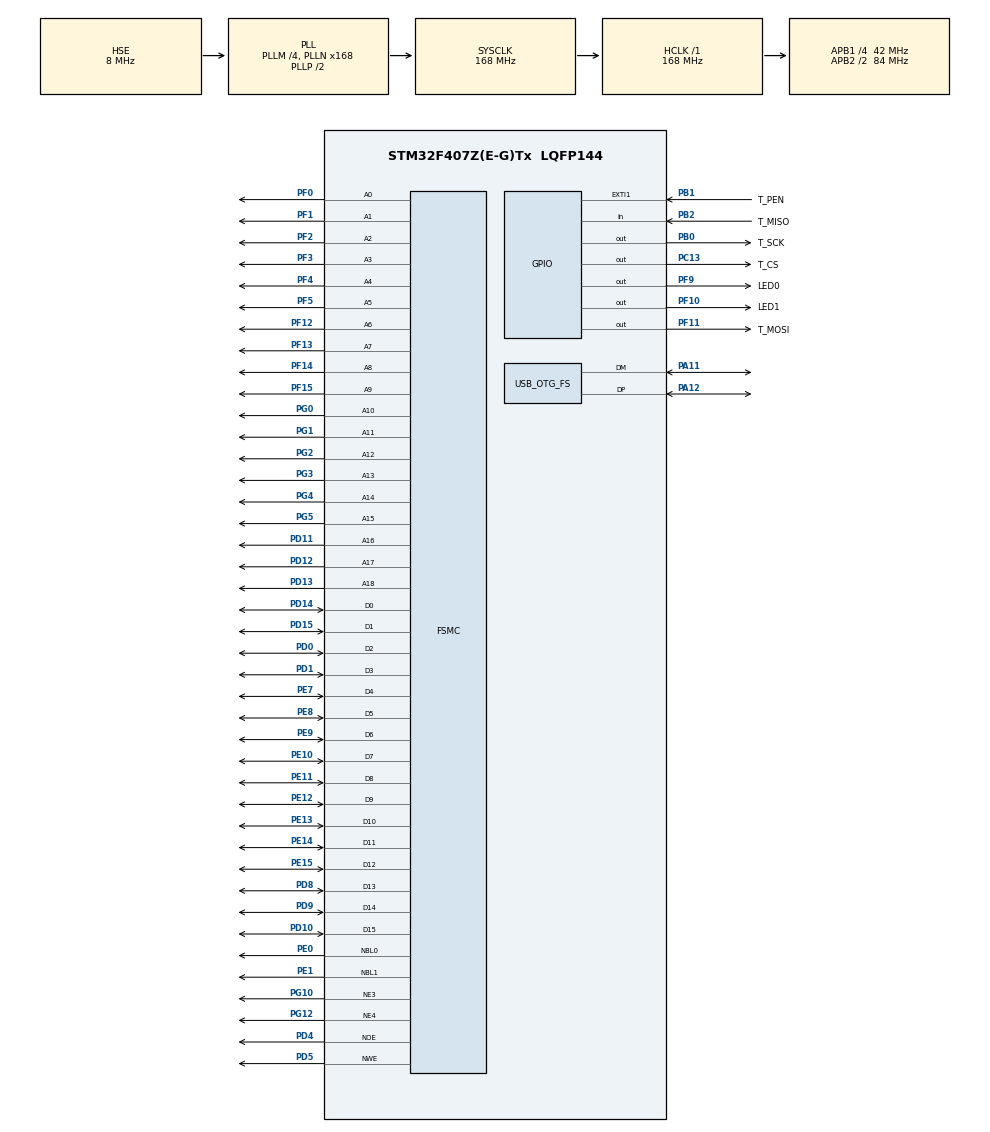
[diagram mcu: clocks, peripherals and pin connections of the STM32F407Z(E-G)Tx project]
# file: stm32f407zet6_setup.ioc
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Dma.MEMTOMEM.0.Direction=DMA_MEMORY_TO_MEMORY
Dma.MEMTOMEM.0.FIFOMode=DMA_FIFOMODE_ENABLE
Dma.MEMTOMEM.0.FIFOThreshold=DMA_FIFO_THRESHOLD_FULL
Dma.MEMTOMEM.0.Instance=DMA2_Stream7
Dma.MEMTOMEM.0.MemBurst=DMA_MBURST_SINGLE
Dma.MEMTOMEM.0.MemDataAlignment=DMA_MDATAALIGN_HALFWORD
Dma.MEMTOMEM.0.MemInc=DMA_MINC_DISABLE
Dma.MEMTOMEM.0.Mode=DMA_NORMAL
Dma.MEMTOMEM.0.PeriphBurst=DMA_PBURST_SINGLE
Dma.MEMTOMEM.0.PeriphDataAlignment=DMA_PDATAALIGN_HALFWORD
Dma.MEMTOMEM.0.PeriphInc=DMA_PINC_ENABLE
Dma.MEMTOMEM.0.Priority=DMA_PRIORITY_VERY_HIGH
Dma.Request0=MEMTOMEM
FSMC.AccessMode1=FSMC_ACCESS_MODE_A
FSMC.AddressSetupTime1=5
FSMC.AddressSetupTime2=1
FSMC.BusTurnAroundDuration1=4
FSMC.BusTurnAroundDuration2=0
FSMC.DataSetupTime1=1
FSMC.DataSetupTime2=2
FSMC.ExtendedAddressSetupTime1=4
FSMC.ExtendedAddressSetupTime2=2
FSMC.ExtendedBusTurnAroundDuration1=4
FSMC.ExtendedBusTurnAroundDuration2=6
FSMC.ExtendedDataSetupTime1=5
FSMC.ExtendedDataSetupTime2=3
FSMC.ExtendedMode1=FSMC_EXTENDED_MODE_ENABLE
FSMC.ExtendedMode2=FSMC_EXTENDED_MODE_ENABLE
FSMC.WriteOperation1=FSMC_WRITE_OPERATION_ENABLE
Mcu.Family=STM32F4
Mcu.Name=STM32F407Z(E-G)Tx
Mcu.Package=LQFP144
NVIC.DMA2_Stream7_IRQn=true\:0\:0\:false\:false\:true\:true\:true
NVIC.EXTI1_IRQn=true\:0\:0\:false\:false\:true\:true\:true
NVIC.OTG_FS_IRQn=true\:0\:0\:false\:false\:true\:false\:true
NVIC.PriorityGroup=NVIC_PRIORITYGROUP_4
PA11.Mode=Device_Only
PA11.Signal=USB_OTG_FS_DM
PA12.Mode=Device_Only
PA12.Signal=USB_OTG_FS_DP
PA13.Mode=Serial_Wire
PA13.Signal=SYS_JTMS-SWDIO
PA14.Mode=Serial_Wire
PA14.Signal=SYS_JTCK-SWCLK
PB0.GPIO_Label=T_SCK
PB0.GPIO_Speed=GPIO_SPEED_FREQ_HIGH
PB0.PinState=GPIO_PIN_SET
PB0.Signal=GPIO_Output
PB1.GPIO_Label=T_PEN
PB1.GPIO_ModeDefaultEXTI=GPIO_MODE_IT_FALLING
PB1.Signal=GPXTI1
PB2.GPIO_Label=T_MISO
PB2.Signal=GPIO_Input
PC13-ANTI_TAMP.GPIO_Label=T_CS
PC13-ANTI_TAMP.PinState=GPIO_PIN_SET
PC13-ANTI_TAMP.Signal=GPIO_Output
PD0.Signal=FSMC_D2_DA2
PD1.Signal=FSMC_D3_DA3
PD10.Signal=FSMC_D15_DA15
PD11.Signal=FSMC_A16_CLE
PD12.Signal=FSMC_A17_ALE
PD13.Signal=FSMC_A18
PD14.Signal=FSMC_D0_DA0
PD15.Signal=FSMC_D1_DA1
PD4.Signal=FSMC_NOE
PD5.Signal=FSMC_NWE
PD8.Signal=FSMC_D13_DA13
PD9.Signal=FSMC_D14_DA14
PE0.Signal=FSMC_NBL0
PE1.Signal=FSMC_NBL1
PE10.Signal=FSMC_D7_DA7
PE11.Signal=FSMC_D8_DA8
PE12.Signal=FSMC_D9_DA9
PE13.Signal=FSMC_D10_DA10
PE14.Signal=FSMC_D11_DA11
PE15.Signal=FSMC_D12_DA12
PE7.Signal=FSMC_D4_DA4
PE8.Signal=FSMC_D5_DA5
PE9.Signal=FSMC_D6_DA6
PF0.Signal=FSMC_A0
PF1.Signal=FSMC_A1
PF10.GPIO_Label=LED1
PF10.PinState=GPIO_PIN_SET
PF10.Signal=GPIO_Output
PF11.GPIO_Label=T_MOSI
PF11.GPIO_Speed=GPIO_SPEED_FREQ_HIGH
PF11.Signal=GPIO_Output
PF12.Signal=FSMC_A6
PF13.Signal=FSMC_A7
PF14.Signal=FSMC_A8
PF15.Signal=FSMC_A9
PF2.Signal=FSMC_A2
PF3.Signal=FSMC_A3
PF4.Signal=FSMC_A4
PF5.Signal=FSMC_A5
PF9.GPIO_Label=LED0
PF9.PinState=GPIO_PIN_SET
PF9.Signal=GPIO_Output
PG0.Signal=FSMC_A10
PG1.Signal=FSMC_A11
PG10.Mode=NorPsramChipSelect3_1
PG10.Signal=FSMC_NE3
PG12.Mode=NorPsramChipSelect4_2
PG12.Signal=FSMC_NE4
PG2.Signal=FSMC_A12
PG3.Signal=FSMC_A13
PG4.Signal=FSMC_A14
PG5.Signal=FSMC_A15
PH0-OSC_IN.Mode=HSE-External-Oscillator
PH0-OSC_IN.Signal=RCC_OSC_IN
PH1-OSC_OUT.Mode=HSE-External-Oscillator
PH1-OSC_OUT.Signal=RCC_OSC_OUT
ProjectManager.HeapSize=0x200
ProjectManager.StackSize=0x400
ProjectManager.TargetToolchain=Makefile
RCC.48MHZClocksFreq_Value=48000000
RCC.AHBFreq_Value=168000000
RCC.APB1CLKDivider=RCC_HCLK_DIV4
RCC.APB1Freq_Value=42000000
RCC.APB1TimFreq_Value=84000000
RCC.APB2CLKDivider=RCC_HCLK_DIV2
RCC.APB2Freq_Value=84000000
RCC.APB2TimFreq_Value=168000000
RCC.CortexFreq_Value=168000000
RCC.HCLKFreq_Value=168000000
RCC.HSE_VALUE=8000000
RCC.HSI_VALUE=16000000
RCC.LSE_VALUE=32768
RCC.PLLM=4
RCC.PLLN=168
RCC.PLLQ=7
RCC.SYSCLKFreq_VALUE=168000000
RCC.SYSCLKSource=RCC_SYSCLKSOURCE_PLLCLK
RCC.VCOOutputFreq_Value=336000000
SH.FSMC_A0.0=FSMC_A0,19b-a1
SH.FSMC_A1.0=FSMC_A1,19b-a1
SH.FSMC_A10.0=FSMC_A10,19b-a1
SH.FSMC_A11.0=FSMC_A11,19b-a1
SH.FSMC_A12.0=FSMC_A12,19b-a1
SH.FSMC_A13.0=FSMC_A13,19b-a1
SH.FSMC_A14.0=FSMC_A14,19b-a1
SH.FSMC_A15.0=FSMC_A15,19b-a1
SH.FSMC_A16_CLE.0=FSMC_A16,19b-a1
SH.FSMC_A17_ALE.0=FSMC_A17,19b-a1
SH.FSMC_A18.0=FSMC_A18,19b-a1
SH.FSMC_A2.0=FSMC_A2,19b-a1
SH.FSMC_A3.0=FSMC_A3,19b-a1
SH.FSMC_A4.0=FSMC_A4,19b-a1
SH.FSMC_A5.0=FSMC_A5,19b-a1
SH.FSMC_A6.0=FSMC_A6,19b-a1
SH.FSMC_A6.1=FSMC_A6,A6_2
SH.FSMC_A7.0=FSMC_A7,19b-a1
SH.FSMC_A8.0=FSMC_A8,19b-a1
SH.FSMC_A9.0=FSMC_A9,19b-a1
SH.FSMC_D0_DA0.0=FSMC_D0,16b-d1
SH.FSMC_D0_DA0.1=FSMC_D0,16b-d2
SH.FSMC_D10_DA10.0=FSMC_D10,16b-d1
SH.FSMC_D10_DA10.1=FSMC_D10,16b-d2
SH.FSMC_D11_DA11.0=FSMC_D11,16b-d1
SH.FSMC_D11_DA11.1=FSMC_D11,16b-d2
SH.FSMC_D12_DA12.0=FSMC_D12,16b-d1
SH.FSMC_D12_DA12.1=FSMC_D12,16b-d2
SH.FSMC_D13_DA13.0=FSMC_D13,16b-d1
SH.FSMC_D13_DA13.1=FSMC_D13,16b-d2
SH.FSMC_D14_DA14.0=FSMC_D14,16b-d1
SH.FSMC_D14_DA14.1=FSMC_D14,16b-d2
SH.FSMC_D15_DA15.0=FSMC_D15,16b-d1
SH.FSMC_D15_DA15.1=FSMC_D15,16b-d2
SH.FSMC_D1_DA1.0=FSMC_D1,16b-d1
SH.FSMC_D1_DA1.1=FSMC_D1,16b-d2
SH.FSMC_D2_DA2.0=FSMC_D2,16b-d1
SH.FSMC_D2_DA2.1=FSMC_D2,16b-d2
SH.FSMC_D3_DA3.0=FSMC_D3,16b-d1
SH.FSMC_D3_DA3.1=FSMC_D3,16b-d2
SH.FSMC_D4_DA4.0=FSMC_D4,16b-d1
SH.FSMC_D4_DA4.1=FSMC_D4,16b-d2
SH.FSMC_D5_DA5.0=FSMC_D5,16b-d1
SH.FSMC_D5_DA5.1=FSMC_D5,16b-d2
SH.FSMC_D6_DA6.0=FSMC_D6,16b-d1
SH.FSMC_D6_DA6.1=FSMC_D6,16b-d2
SH.FSMC_D7_DA7.0=FSMC_D7,16b-d1
SH.FSMC_D7_DA7.1=FSMC_D7,16b-d2
SH.FSMC_D8_DA8.0=FSMC_D8,16b-d1
SH.FSMC_D8_DA8.1=FSMC_D8,16b-d2
SH.FSMC_D9_DA9.0=FSMC_D9,16b-d1
SH.FSMC_D9_DA9.1=FSMC_D9,16b-d2
SH.FSMC_NBL0.0=FSMC_NBL0,2ByteEnable1
SH.FSMC_NBL1.0=FSMC_NBL1,2ByteEnable1
SH.FSMC_NOE.0=FSMC_NOE,Sram1
SH.FSMC_NOE.1=FSMC_NOE,Lcd2
SH.FSMC_NWE.0=FSMC_NWE,Sram1
SH.FSMC_NWE.1=FSMC_NWE,Lcd2
USB_DEVICE.CLASS_NAME_FS=CDC
USB_DEVICE.USBD_SELF_POWERED-CDC_FS=0
USB_DEVICE.VirtualMode-CDC_FS=Cdc
USB_DEVICE.VirtualModeFS=Cdc_FS
USB_OTG_FS.VirtualMode=Device_Only
VP_USB_DEVICE_VS_USB_DEVICE_CDC_FS.Mode=CDC_FS
board=custom

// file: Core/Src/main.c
/* USER CODE BEGIN Header */
/**
  ******************************************************************************
  * @file           : main.c
  * @brief          : Main program body
  ******************************************************************************
  * @attention
  *
  * <h2><center>&copy; Copyright (c) 2020 STMicroelectronics.
  * All rights reserved.</center></h2>
  *
  * This software component is licensed by ST under BSD 3-Clause license,
  * the "License"; You may not use this file except in compliance with the
  * License. You may obtain a copy of the License at:
  *                        opensource.org/licenses/BSD-3-Clause
  *
  ******************************************************************************
  */
/* USER CODE END Header */

#include "main.h"
#include "dma.h"
#include "usb_device.h"
#include "gpio.h"
#include "fsmc.h"

/* USER CODE BEGIN Includes */
#include "app.h"
/* USER CODE END Includes */

void SystemClock_Config(void);

/* USER CODE BEGIN 0 */
void
test_sram(void)
{
  #define BASER_ADDRESS           0x68000000    // Bank-1 CS3
  //
  // we have 1MB sram controlled by NE3
  //
  static volatile uint8_t*    base = (uint8_t*)BASER_ADDRESS;
  static volatile uint8_t*    current = (uint8_t*)BASER_ADDRESS;;
  const uint32_t              bytes_to_test = 1024 * 250;
  uint32_t                    i;
  uint8_t                     target;

  for (i = 0; i < bytes_to_test; i++)
  {
    if ((current - base) >= (1024 * 1024))
    {
      current = base;
    }

    target = (uint8_t)(i % 256);

    // write
    *current = target;

    // read back
    if (*current != target)
    {
      // error
      while(1)
      {
        HAL_GPIO_TogglePin(LED1_GPIO_Port, LED1_Pin);
        HAL_Delay(500);
      }
    }
    current++;
  }
  HAL_GPIO_TogglePin(LED0_GPIO_Port, LED0_Pin);
}

void
test_sram_16(void)
{
  #define BASER_ADDRESS           0x68000000    // Bank-1 CS3
  //
  // we have 1MB sram controlled by NE3
  //
  static volatile uint16_t*   base = (uint16_t*)BASER_ADDRESS;
  static volatile uint16_t*   current = (uint16_t*)BASER_ADDRESS;;
  const uint32_t              bytes_to_test = 1024 * 250;
  uint32_t                    i;
  uint16_t                    target;

  for (i = 0; i < bytes_to_test; i++)
  {
    if ((current - base) >= (1024 * 1024))
    {
      current = base;
    }

    target = (uint16_t)(i % (0xffffU + 1));

    // write
    *current = target;

    // read back
    if (*current != target)
    {
      // error
      while(1)
      {
        HAL_GPIO_TogglePin(LED1_GPIO_Port, LED1_Pin);
        HAL_Delay(100);
      }
    }
    current++;
  }
  HAL_GPIO_TogglePin(LED0_GPIO_Port, LED0_Pin);
}

/* USER CODE END 0 */

int main(void)
{

  /* MCU Configuration--------------------------------------------------------*/

  /* Reset of all peripherals, Initializes the Flash interface and the Systick. */
  HAL_Init();

  /* Configure the system clock */
  SystemClock_Config();

  /* USER CODE BEGIN SysInit */
  app_init_f();
  /* USER CODE END SysInit */

  /* Initialize all configured peripherals */
  MX_GPIO_Init();
  MX_DMA_Init();
  MX_FSMC_Init();
  MX_USB_DEVICE_Init();
  /* USER CODE BEGIN 2 */
  app_init_r();
  /* USER CODE END 2 */

  /* Infinite loop */
  /* USER CODE BEGIN WHILE */
  app_mainloop();

  while (1)
  {
    /* USER CODE END WHILE */

    /* USER CODE BEGIN 3 */
    test_sram_16();
  }
  /* USER CODE END 3 */
}

void SystemClock_Config(void)
{
  RCC_OscInitTypeDef RCC_OscInitStruct = {0};
  RCC_ClkInitTypeDef RCC_ClkInitStruct = {0};

  /** Configure the main internal regulator output voltage
  */
  __HAL_RCC_PWR_CLK_ENABLE();
  __HAL_PWR_VOLTAGESCALING_CONFIG(PWR_REGULATOR_VOLTAGE_SCALE1);
  /** Initializes the CPU, AHB and APB busses clocks
  */
  RCC_OscInitStruct.OscillatorType = RCC_OSCILLATORTYPE_HSE;
  RCC_OscInitStruct.HSEState = RCC_HSE_ON;
  RCC_OscInitStruct.PLL.PLLState = RCC_PLL_ON;
  RCC_OscInitStruct.PLL.PLLSource = RCC_PLLSOURCE_HSE;
  RCC_OscInitStruct.PLL.PLLM = 4;
  RCC_OscInitStruct.PLL.PLLN = 168;
  RCC_OscInitStruct.PLL.PLLP = RCC_PLLP_DIV2;
  RCC_OscInitStruct.PLL.PLLQ = 7;
  if (HAL_RCC_OscConfig(&RCC_OscInitStruct) != HAL_OK)
  {
    Error_Handler();
  }
  /** Initializes the CPU, AHB and APB busses clocks
  */
  RCC_ClkInitStruct.ClockType = RCC_CLOCKTYPE_HCLK|RCC_CLOCKTYPE_SYSCLK
                              |RCC_CLOCKTYPE_PCLK1|RCC_CLOCKTYPE_PCLK2;
  RCC_ClkInitStruct.SYSCLKSource = RCC_SYSCLKSOURCE_PLLCLK;
  RCC_ClkInitStruct.AHBCLKDivider = RCC_SYSCLK_DIV1;
  RCC_ClkInitStruct.APB1CLKDivider = RCC_HCLK_DIV4;
  RCC_ClkInitStruct.APB2CLKDivider = RCC_HCLK_DIV2;

  if (HAL_RCC_ClockConfig(&RCC_ClkInitStruct, FLASH_LATENCY_5) != HAL_OK)
  {
    Error_Handler();
  }
}

void Error_Handler(void)
{
}

/************************ (C) COPYRIGHT STMicroelectronics *****END OF FILE****/
